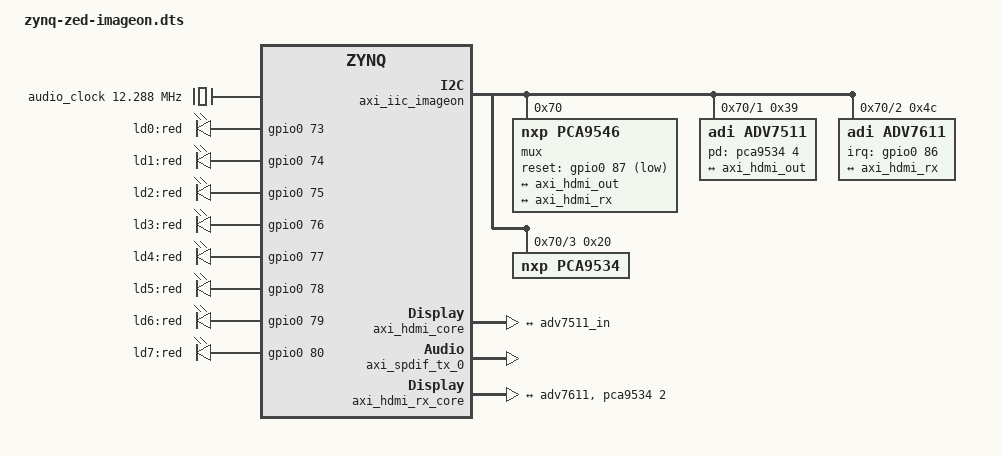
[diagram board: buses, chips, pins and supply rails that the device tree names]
/dts-v1/;

#include "zynq-zed.dtsi"

/ {
	fpga_axi: fpga-axi@0 {
		compatible = "simple-bus";
		#address-cells = <0x1>;
		#size-cells = <0x1>;
		ranges;

		axi_iic_imageon: i2c@43c40000 {
			compatible = "xlnx,axi-iic-1.02.a", "xlnx,xps-iic-2.00.a";
			reg = <0x43c40000 0x10000>;
			interrupt-parent = <&intc>;
			interrupts = <0 55 IRQ_TYPE_LEVEL_HIGH>;
			clocks = <&clkc 15>;
			clock-names = "pclk";

			#size-cells = <0>;
			#address-cells = <1>;

			mux@70 {
				compatible = "nxp,pca9546";
				reg = <0x70>;
				reset-gpio = <&gpio0 87 1>;
				#address-cells = <1>;
				#size-cells = <0>;

				i2c@1 {
					#size-cells = <0>;
					#address-cells = <1>;
					reg = <1>;

					adv7511: adv7511@39 {
						compatible = "adi,adv7511";
						reg = <0x39>, <0x3f>;
						reg-names = "primary", "edid";

						adi,input-depth = <8>;
						adi,input-colorspace = "yuv422";
						adi,input-clock = "1x";
						adi,input-style = <1>;
						adi,input-justification = "left";
						adi,clock-delay = <0>;
						adi,embedded-sync;

						pd-gpios = <&pca9534 4 0>;

						#sound-dai-cells = <0>;

						ports {
							#address-cells = <1>;
							#size-cells = <0>;

							port@0 {
								reg = <0>;
								adv7511_in: endpoint {
									remote-endpoint = <&axi_hdmi_out>;
								};
							};

							port@1 {
								reg = <1>;
							};
						};
					};
				};

				i2c@2 {
					#size-cells = <0>;
					#address-cells = <1>;
					reg = <2>;

					adv7611@4c {
						compatible = "adi,adv7611";
						reg = <0x4c>;
						#address-cells = <0x1>;
						#size-cells = <0x0>;
						interrupt-parent = <&gpio0>;
						interrupts = <86 4>;

						port@0 {
							reg = <0x0>;
						};

						port@1 {
							reg = <0x1>;

							adv7611: endpoint {
								bus-width = <16>;
								remote-endpoint = <&axi_hdmi_rx>;
							};
						};
					};
				};

				i2c@3 {
					#size-cells = <0>;
					#address-cells = <1>;
					reg = <3>;

					pca9534: pca9534@20 {
						compatible = "nxp,pca9534";
						reg = <0x20>;
						gpio-controller;
						#gpio-cells = <2>;
					};
				};
			};
		};

		hdmi_dma: dma@43000000 {
			compatible = "adi,axi-dmac-1.00.a";
			reg = <0x43000000 0x10000>;
			#dma-cells = <1>;
			interrupts = <0 59 IRQ_TYPE_LEVEL_HIGH>;
			clocks = <&clkc 16>;

			adi,channels {
				#size-cells = <0>;
				#address-cells = <1>;

				dma-channel@0 {
					reg = <0>;
					adi,source-bus-width = <64>;
					adi,source-bus-type = <0>;
					adi,destination-bus-width = <64>;
					adi,destination-bus-type = <1>;
				};
			};
		};

		axi_hdmi_clkgen: axi-clkgen@79000000 {
			compatible = "adi,axi-clkgen-2.00.a";
			reg = <0x79000000 0x10000>;
			#clock-cells = <0>;
			clocks = <&clkc 16>;
		};

		axi_hdmi_core: axi-hdmi-tx@70e00000 {
			compatible = "adi,axi-hdmi-tx-1.00.a";
			reg = <0x70e00000 0x10000>;
			encoder-slave = <&adv7511>;
			dmas = <&hdmi_dma 0>;
			dma-names = "video";
			clocks = <&axi_hdmi_clkgen>;

			port {
				axi_hdmi_out: endpoint {
					remote-endpoint = <&adv7511_in>;
				};
			};
		};

		axi_spdif_tx_0: axi-spdif-tx@75c00000 {
			compatible = "adi,axi-spdif-tx-1.00.a";
			reg = <0x75c00000 0x1000>;
			dmas = <&dmac_s 0>;
			dma-names = "tx";
			clocks = <&clkc 15>, <&audio_clock>;
			clock-names = "axi", "ref";

			#sound-dai-cells = <0>;
		};

		axi_hdmi_rx_core: axi-hdmi-rx@43100000 {
			compatible = "adi,axi-hdmi-rx-1.00.a";
			reg = <0x43100000 0x10000>;
			dmas = <&axi_dmac 0>;
			dma-names = "rx";
			gpios = <&pca9534 2 0>;

			port {
				#address-cells = <0>;
				#size-cells = <0>;

				axi_hdmi_rx: endpoint {
					remote-endpoint = <&adv7611>;
				};
			};
		};

		axi_dmac: dmac@43c20000 {
			compatible = "adi,axi-dmac-1.00.a";
			reg = <0x43c20000 0x10000>;
			#dma-cells = <1>;
			interrupts = <0 56 IRQ_TYPE_LEVEL_HIGH>;
			clocks = <&clkc 16>;

			adi,channels {
				#size-cells = <0>;
				#address-cells = <1>;

				dma-channel@0 {
					reg = <0>;
					adi,source-bus-width = <64>;
					adi,source-bus-type = <2>;
					adi,destination-bus-width = <64>;
					adi,destination-bus-type = <0>;
				};
			};
		};
	};

	audio_clock: audio_clock {
		compatible = "fixed-clock";
		#clock-cells = <0>;
		clock-frequency = <12288000>;
	};

	adv7511_hdmi_snd {
		compatible = "simple-audio-card";
		simple-audio-card,name = "HDMI monitor";
		simple-audio-card,widgets =
			"Speaker", "Speaker";
		simple-audio-card,routing =
			"Speaker", "TX";

		simple-audio-card,dai-link@0 {
			format = "spdif";
			cpu {
				sound-dai = <&axi_spdif_tx_0>;
				frame-master;
				bitclock-master;
			};
			codec {
				sound-dai = <&adv7511>;
			};
		};
	};

	leds {
		compatible = "gpio-leds";
		ld0 {
			label = "ld0:red";
			gpios = <&gpio0 73 0>;
		};

		ld1 {
			label = "ld1:red";
			gpios = <&gpio0 74 0>;
		};

		ld2 {
			label = "ld2:red";
			gpios = <&gpio0 75 0>;
		};

		ld3 {
			label = "ld3:red";
			gpios = <&gpio0 76 0>;
		};

		ld4 {
			label = "ld4:red";
			gpios = <&gpio0 77 0>;
		};

		ld5 {
			label = "ld5:red";
			gpios = <&gpio0 78 0>;
		};

		ld6 {
			label = "ld6:red";
			gpios = <&gpio0 79 0>;
		};

		ld7 {
			label = "ld7:red";
			gpios = <&gpio0 80 0>;
		};
	};
};
